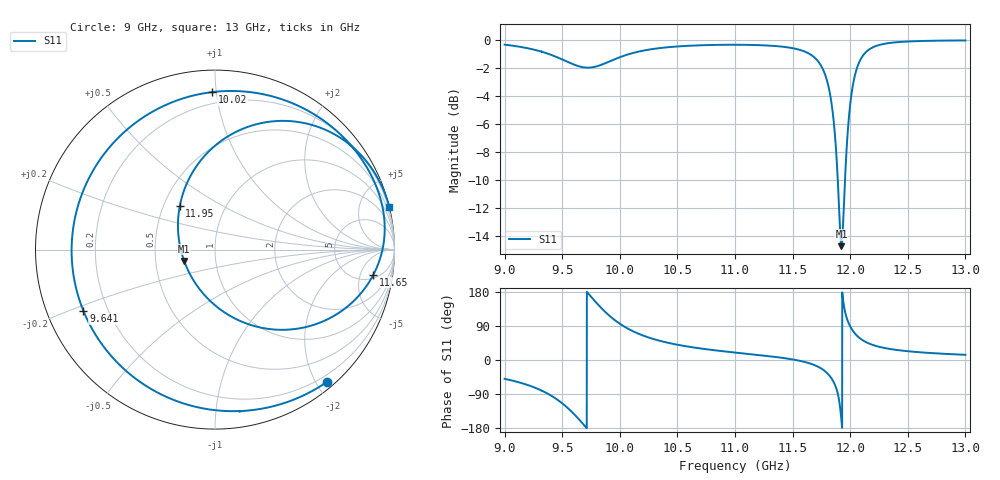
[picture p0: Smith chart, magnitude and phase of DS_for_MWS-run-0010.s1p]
! TOUCHSTONE file generated by CST DESIGN STUDIO
! Date and time: Tue Feb  4 14:18:34 2025
! Project name: C:\Work\MatlabApps\UnitCellOptimizationMatlab\CST\unitcell.cst
! Tree item: Tasks\Sweep1\SPara1\S-Parameters
! Header version: 2024
! Port assignment regex: !\s*Touchstone port\s*([0-9]+)\s*=\s*(CST MWS port|CST DES external port|CST DES block port)\s*(.+)\s* \(\"(.*)\"\)(\s*mode\s*([0-9]+))?.*
! Touchstone port assignment:
! Touchstone port 1 = CST DES external port 1 ("")
# GHz S MA R 50
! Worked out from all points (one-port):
!   4001 points, 9 GHz to 13 GHz, reference 50 ohm
!   lowest |S11| = -14.7 dB at 11.92 GHz (marker M1), VSWR 1.45, Z = 35.1 - j4.61 ohm
!   |S11| at or under -10 dB: 11.89 GHz to 11.95 GHz (62.57 MHz wide, 0.525 % of centre)
!   S11 on the Smith chart (normalised r, x): 9 GHz: 0.10, -2.16; 9.641 GHz: 0.11, -0.22; 10.02 GHz: 0.13, +0.98; 11.65 GHz: 6, -8; 11.95 GHz: 0.61, +0.32; 13 GHz: 0.01, +8.32
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9  0.9656 -49.7
9.264  0.9248 -73.1
9.397  0.8899 -92.7
9.5  0.8549 -114.3
9.57  0.8298 -132.9
9.641  0.8088 -155.1
9.712  0.799 -179.6
9.782  0.8041 155.9
9.889  0.8334 122.4
10  0.8705 95.7
10.024  0.8778 91.0
10.234  0.9242 61.0
10.5  0.9514 40.3
11  0.965 19.6
11.5  0.9382 1.5
11.649  0.8936 -9.0
11.763  0.7885 -25.3
11.844  0.5709 -51.5
11.885  0.3594 -80.4
11.924  0.1832 -159.7
11.954  0.3111 129.2
12  0.5898 88.7
12.059  0.7968 64.1
12.11  0.8816 51.8
12.169  0.9308 42.8
12.297  0.9725 31.7
12.5  0.9911 23.1
13  0.9997 13.7
